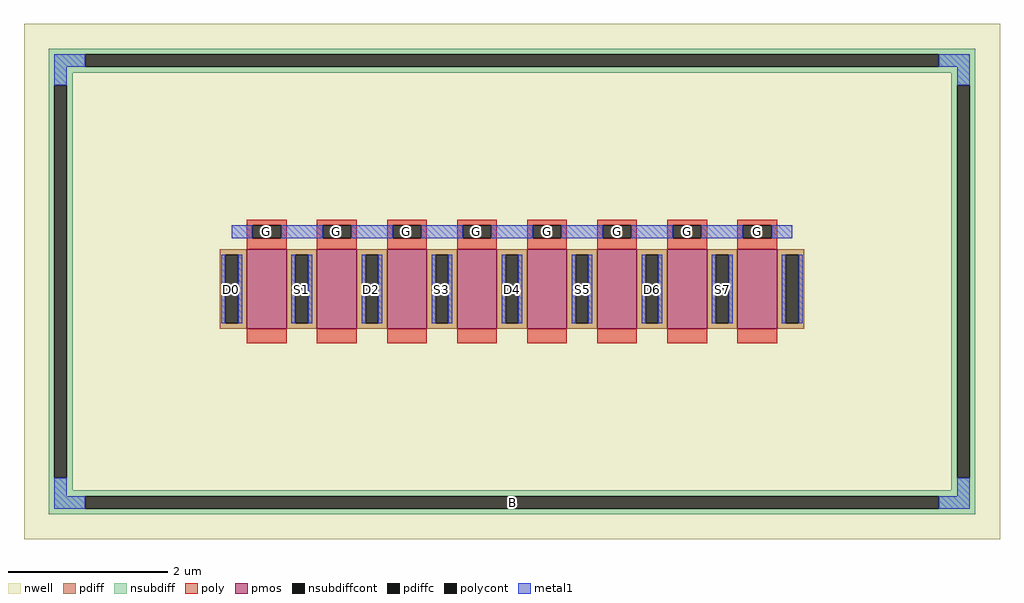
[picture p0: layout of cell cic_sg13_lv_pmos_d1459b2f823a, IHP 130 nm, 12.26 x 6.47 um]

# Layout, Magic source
magic
tech ihp-sg13cmos5l
magscale 1 2
<< nwell >>
rect -1226 -647 1226 647
<< pmos >>
rect -666 -119 -566 81
rect -490 -119 -390 81
rect -314 -119 -214 81
rect -138 -119 -38 81
rect 38 -119 138 81
rect 214 -119 314 81
rect 390 -119 490 81
rect 566 -119 666 81
<< pdiff >>
rect -734 67 -666 81
rect -734 -105 -720 67
rect -688 -105 -666 67
rect -734 -119 -666 -105
rect -566 67 -490 81
rect -566 -105 -544 67
rect -512 -105 -490 67
rect -566 -119 -490 -105
rect -390 67 -314 81
rect -390 -105 -368 67
rect -336 -105 -314 67
rect -390 -119 -314 -105
rect -214 67 -138 81
rect -214 -105 -192 67
rect -160 -105 -138 67
rect -214 -119 -138 -105
rect -38 67 38 81
rect -38 -105 -16 67
rect 16 -105 38 67
rect -38 -119 38 -105
rect 138 67 214 81
rect 138 -105 160 67
rect 192 -105 214 67
rect 138 -119 214 -105
rect 314 67 390 81
rect 314 -105 336 67
rect 368 -105 390 67
rect 314 -119 390 -105
rect 490 67 566 81
rect 490 -105 512 67
rect 544 -105 566 67
rect 490 -119 566 -105
rect 666 67 734 81
rect 666 -105 688 67
rect 720 -105 734 67
rect 666 -119 734 -105
<< pdiffc >>
rect -720 -105 -688 67
rect -544 -105 -512 67
rect -368 -105 -336 67
rect -192 -105 -160 67
rect -16 -105 16 67
rect 160 -105 192 67
rect 336 -105 368 67
rect 512 -105 544 67
rect 688 -105 720 67
<< nsubdiff >>
rect -1164 571 1164 585
rect -1164 539 -1072 571
rect 1072 539 1164 571
rect -1164 525 1164 539
rect -1164 493 -1104 525
rect -1164 -493 -1150 493
rect -1118 -493 -1104 493
rect 1104 493 1164 525
rect -1164 -525 -1104 -493
rect 1104 -493 1118 493
rect 1150 -493 1164 493
rect 1104 -525 1164 -493
rect -1164 -539 1164 -525
rect -1164 -571 -1072 -539
rect 1072 -571 1164 -539
rect -1164 -585 1164 -571
<< nsubdiffcont >>
rect -1072 539 1072 571
rect -1150 -493 -1118 493
rect 1118 -493 1150 493
rect -1072 -571 1072 -539
<< poly >>
rect -666 141 -566 155
rect -666 109 -652 141
rect -580 109 -566 141
rect -666 81 -566 109
rect -490 141 -390 155
rect -490 109 -476 141
rect -404 109 -390 141
rect -490 81 -390 109
rect -314 141 -214 155
rect -314 109 -300 141
rect -228 109 -214 141
rect -314 81 -214 109
rect -138 141 -38 155
rect -138 109 -124 141
rect -52 109 -38 141
rect -138 81 -38 109
rect 38 141 138 155
rect 38 109 52 141
rect 124 109 138 141
rect 38 81 138 109
rect 214 141 314 155
rect 214 109 228 141
rect 300 109 314 141
rect 214 81 314 109
rect 390 141 490 155
rect 390 109 404 141
rect 476 109 490 141
rect 390 81 490 109
rect 566 141 666 155
rect 566 109 580 141
rect 652 109 666 141
rect 566 81 666 109
rect -666 -155 -566 -119
rect -490 -155 -390 -119
rect -314 -155 -214 -119
rect -138 -155 -38 -119
rect 38 -155 138 -119
rect 214 -155 314 -119
rect 390 -155 490 -119
rect 566 -155 666 -119
<< polycont >>
rect -652 109 -580 141
rect -476 109 -404 141
rect -300 109 -228 141
rect -124 109 -52 141
rect 52 109 124 141
rect 228 109 300 141
rect 404 109 476 141
rect 580 109 652 141
<< metal1 >>
rect -1150 539 -1072 571
rect 1072 539 1150 571
rect -1150 493 -1118 539
rect 1118 493 1150 539
rect -704 109 -652 141
rect -580 109 -476 141
rect -404 109 -300 141
rect -228 109 -124 141
rect -52 109 52 141
rect 124 109 228 141
rect 300 109 404 141
rect 476 109 580 141
rect 652 109 704 141
rect -730 -105 -720 67
rect -688 -105 -678 67
rect -554 -105 -544 67
rect -512 -105 -502 67
rect -378 -105 -368 67
rect -336 -105 -326 67
rect -202 -105 -192 67
rect -160 -105 -150 67
rect -26 -105 -16 67
rect 16 -105 26 67
rect 150 -105 160 67
rect 192 -105 202 67
rect 326 -105 336 67
rect 368 -105 378 67
rect 502 -105 512 67
rect 544 -105 554 67
rect 678 -105 688 67
rect 720 -105 730 67
rect -1150 -539 -1118 -493
rect 1118 -539 1150 -493
rect -1150 -571 -1072 -539
rect 1072 -571 1150 -539
<< labels >>
rlabel nsubdiffcont 0 -555 0 -555 0 B
port 1 nsew
rlabel pdiffc -704 -19 -704 -19 0 D0
port 2 nsew
rlabel polycont -616 125 -616 125 0 G
port 3 nsew
rlabel pdiffc -528 -19 -528 -19 0 S1
port 4 nsew
rlabel polycont -440 125 -440 125 0 G
port 3 nsew
rlabel pdiffc -352 -19 -352 -19 0 D2
port 5 nsew
rlabel polycont -264 125 -264 125 0 G
port 3 nsew
rlabel pdiffc -176 -19 -176 -19 0 S3
port 6 nsew
rlabel polycont -88 125 -88 125 0 G
port 3 nsew
rlabel pdiffc 0 -19 0 -19 0 D4
port 7 nsew
rlabel polycont 88 125 88 125 0 G
port 3 nsew
rlabel pdiffc 176 -19 176 -19 0 S5
port 8 nsew
rlabel polycont 264 125 264 125 0 G
port 3 nsew
rlabel pdiffc 352 -19 352 -19 0 D6
port 9 nsew
rlabel polycont 440 125 440 125 0 G
port 3 nsew
rlabel pdiffc 528 -19 528 -19 0 S7
port 10 nsew
rlabel polycont 616 125 616 125 0 G
port 3 nsew
<< properties >>
string FIXED_BBOX -1134 -555 1134 555
string gencell sg13_lv_pmos
string library sg13cmos5l
string parameters w 1.0 l 0.5 m 1 ng 8 diffcov 100 polycov 100 guard 1 glc 1 grc 1 gtc 1 gbc 1 tbcov 100 rlcov 100 topc 1 botc 0 poverlap 0 doverlap 1 lmin 0.13 wmin 0.15 class mosfet compatible {sg13_lv_pmos sg13_hv_pmos} full_metal 1 conn_gates 1 gate_ring 0 ccols 1 viasrc 0 viadrn 0 viagate 0 viagb 0 viagr 0 viagl 0 viagt 0 doports 1 set_x_to_guard 2.0 set_y_to_guard 2.0
<< end >>
